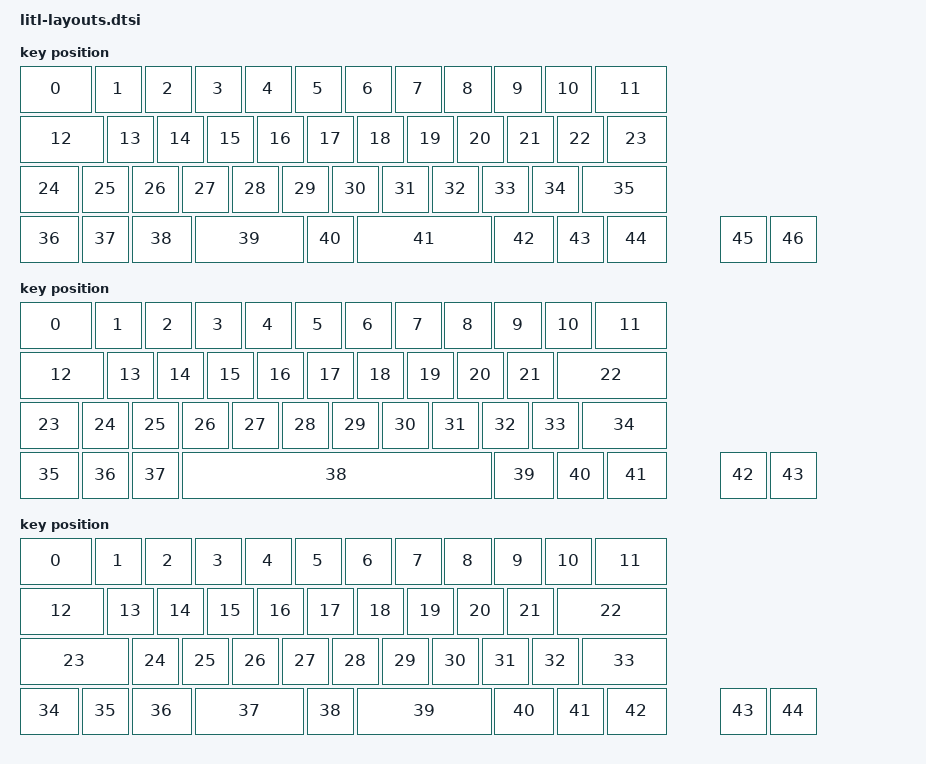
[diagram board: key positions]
#include <physical_layouts.dtsi>

/ {
    layout_all: layout_all {
        compatible = "zmk,physical-layout";
        display-name = "all";
        transform = <&default_transform>;

        keys  //                     w   h    x    y     rot    rx    ry
            = <&key_physical_attrs 150 100    0    0       0     0     0>
            , <&key_physical_attrs 100 100  150    0       0     0     0>
            , <&key_physical_attrs 100 100  250    0       0     0     0>
            , <&key_physical_attrs 100 100  350    0       0     0     0>
            , <&key_physical_attrs 100 100  450    0       0     0     0>
            , <&key_physical_attrs 100 100  550    0       0     0     0>
            , <&key_physical_attrs 100 100  650    0       0     0     0>
            , <&key_physical_attrs 100 100  750    0       0     0     0>
            , <&key_physical_attrs 100 100  850    0       0     0     0>
            , <&key_physical_attrs 100 100  950    0       0     0     0>
            , <&key_physical_attrs 100 100 1050    0       0     0     0>
            , <&key_physical_attrs 150 100 1150    0       0     0     0>
            , <&key_physical_attrs 175 100    0  100       0     0     0>
            , <&key_physical_attrs 100 100  175  100       0     0     0>
            , <&key_physical_attrs 100 100  275  100       0     0     0>
            , <&key_physical_attrs 100 100  375  100       0     0     0>
            , <&key_physical_attrs 100 100  475  100       0     0     0>
            , <&key_physical_attrs 100 100  575  100       0     0     0>
            , <&key_physical_attrs 100 100  675  100       0     0     0>
            , <&key_physical_attrs 100 100  775  100       0     0     0>
            , <&key_physical_attrs 100 100  875  100       0     0     0>
            , <&key_physical_attrs 100 100  975  100       0     0     0>
            , <&key_physical_attrs 100 100 1075  100       0     0     0>
            , <&key_physical_attrs 125 100 1175  100       0     0     0>
            , <&key_physical_attrs 125 100    0  200       0     0     0>
            , <&key_physical_attrs 100 100  125  200       0     0     0>
            , <&key_physical_attrs 100 100  225  200       0     0     0>
            , <&key_physical_attrs 100 100  325  200       0     0     0>
            , <&key_physical_attrs 100 100  425  200       0     0     0>
            , <&key_physical_attrs 100 100  525  200       0     0     0>
            , <&key_physical_attrs 100 100  625  200       0     0     0>
            , <&key_physical_attrs 100 100  725  200       0     0     0>
            , <&key_physical_attrs 100 100  825  200       0     0     0>
            , <&key_physical_attrs 100 100  925  200       0     0     0>
            , <&key_physical_attrs 100 100 1025  200       0     0     0>
            , <&key_physical_attrs 175 100 1125  200       0     0     0>
            , <&key_physical_attrs 125 100    0  300       0     0     0>
            , <&key_physical_attrs 100 100  125  300       0     0     0>
            , <&key_physical_attrs 125 100  225  300       0     0     0>
            , <&key_physical_attrs 225 100  350  300       0     0     0>
            , <&key_physical_attrs 100 100  575  300       0     0     0>
            , <&key_physical_attrs 275 100  675  300       0     0     0>
            , <&key_physical_attrs 125 100  950  300       0     0     0>
            , <&key_physical_attrs 100 100 1075  300       0     0     0>
            , <&key_physical_attrs 125 100 1175  300       0     0     0>
            , <&key_physical_attrs 100 100 1400  300       0     0     0>
            , <&key_physical_attrs 100 100 1500  300       0     0     0>
            ;
    };

    layout_ansi_split_lshift: layout_ansi_split_lshift {
        compatible = "zmk,physical-layout";
        display-name = "ansi split lshift";
        transform = <&default_transform>;

        keys  //                     w   h    x    y     rot    rx    ry
            = <&key_physical_attrs 150 100    0    0       0     0     0>
            , <&key_physical_attrs 100 100  150    0       0     0     0>
            , <&key_physical_attrs 100 100  250    0       0     0     0>
            , <&key_physical_attrs 100 100  350    0       0     0     0>
            , <&key_physical_attrs 100 100  450    0       0     0     0>
            , <&key_physical_attrs 100 100  550    0       0     0     0>
            , <&key_physical_attrs 100 100  650    0       0     0     0>
            , <&key_physical_attrs 100 100  750    0       0     0     0>
            , <&key_physical_attrs 100 100  850    0       0     0     0>
            , <&key_physical_attrs 100 100  950    0       0     0     0>
            , <&key_physical_attrs 100 100 1050    0       0     0     0>
            , <&key_physical_attrs 150 100 1150    0       0     0     0>
            , <&key_physical_attrs 175 100    0  100       0     0     0>
            , <&key_physical_attrs 100 100  175  100       0     0     0>
            , <&key_physical_attrs 100 100  275  100       0     0     0>
            , <&key_physical_attrs 100 100  375  100       0     0     0>
            , <&key_physical_attrs 100 100  475  100       0     0     0>
            , <&key_physical_attrs 100 100  575  100       0     0     0>
            , <&key_physical_attrs 100 100  675  100       0     0     0>
            , <&key_physical_attrs 100 100  775  100       0     0     0>
            , <&key_physical_attrs 100 100  875  100       0     0     0>
            , <&key_physical_attrs 100 100  975  100       0     0     0>
            , <&key_physical_attrs 225 100 1075  100       0     0     0>
            , <&key_physical_attrs 125 100    0  200       0     0     0>
            , <&key_physical_attrs 100 100  125  200       0     0     0>
            , <&key_physical_attrs 100 100  225  200       0     0     0>
            , <&key_physical_attrs 100 100  325  200       0     0     0>
            , <&key_physical_attrs 100 100  425  200       0     0     0>
            , <&key_physical_attrs 100 100  525  200       0     0     0>
            , <&key_physical_attrs 100 100  625  200       0     0     0>
            , <&key_physical_attrs 100 100  725  200       0     0     0>
            , <&key_physical_attrs 100 100  825  200       0     0     0>
            , <&key_physical_attrs 100 100  925  200       0     0     0>
            , <&key_physical_attrs 100 100 1025  200       0     0     0>
            , <&key_physical_attrs 175 100 1125  200       0     0     0>
            , <&key_physical_attrs 125 100    0  300       0     0     0>
            , <&key_physical_attrs 100 100  125  300       0     0     0>
            , <&key_physical_attrs 100 100  225  300       0     0     0>
            , <&key_physical_attrs 625 100  325  300       0     0     0>
            , <&key_physical_attrs 125 100  950  300       0     0     0>
            , <&key_physical_attrs 100 100 1075  300       0     0     0>
            , <&key_physical_attrs 125 100 1175  300       0     0     0>
            , <&key_physical_attrs 100 100 1400  300       0     0     0>
            , <&key_physical_attrs 100 100 1500  300       0     0     0>
            ;
    };

    layout_ansi_split_space: layout_ansi_split_space {
        compatible = "zmk,physical-layout";
        display-name = "ansi split space";
        transform = <&default_transform>;

        keys  //                     w   h    x    y     rot    rx    ry
            = <&key_physical_attrs 150 100    0    0       0     0     0>
            , <&key_physical_attrs 100 100  150    0       0     0     0>
            , <&key_physical_attrs 100 100  250    0       0     0     0>
            , <&key_physical_attrs 100 100  350    0       0     0     0>
            , <&key_physical_attrs 100 100  450    0       0     0     0>
            , <&key_physical_attrs 100 100  550    0       0     0     0>
            , <&key_physical_attrs 100 100  650    0       0     0     0>
            , <&key_physical_attrs 100 100  750    0       0     0     0>
            , <&key_physical_attrs 100 100  850    0       0     0     0>
            , <&key_physical_attrs 100 100  950    0       0     0     0>
            , <&key_physical_attrs 100 100 1050    0       0     0     0>
            , <&key_physical_attrs 150 100 1150    0       0     0     0>
            , <&key_physical_attrs 175 100    0  100       0     0     0>
            , <&key_physical_attrs 100 100  175  100       0     0     0>
            , <&key_physical_attrs 100 100  275  100       0     0     0>
            , <&key_physical_attrs 100 100  375  100       0     0     0>
            , <&key_physical_attrs 100 100  475  100       0     0     0>
            , <&key_physical_attrs 100 100  575  100       0     0     0>
            , <&key_physical_attrs 100 100  675  100       0     0     0>
            , <&key_physical_attrs 100 100  775  100       0     0     0>
            , <&key_physical_attrs 100 100  875  100       0     0     0>
            , <&key_physical_attrs 100 100  975  100       0     0     0>
            , <&key_physical_attrs 225 100 1075  100       0     0     0>
            , <&key_physical_attrs 225 100    0  200       0     0     0>
            , <&key_physical_attrs 100 100  225  200       0     0     0>
            , <&key_physical_attrs 100 100  325  200       0     0     0>
            , <&key_physical_attrs 100 100  425  200       0     0     0>
            , <&key_physical_attrs 100 100  525  200       0     0     0>
            , <&key_physical_attrs 100 100  625  200       0     0     0>
            , <&key_physical_attrs 100 100  725  200       0     0     0>
            , <&key_physical_attrs 100 100  825  200       0     0     0>
            , <&key_physical_attrs 100 100  925  200       0     0     0>
            , <&key_physical_attrs 100 100 1025  200       0     0     0>
            , <&key_physical_attrs 175 100 1125  200       0     0     0>
            , <&key_physical_attrs 125 100    0  300       0     0     0>
            , <&key_physical_attrs 100 100  125  300       0     0     0>
            , <&key_physical_attrs 125 100  225  300       0     0     0>
            , <&key_physical_attrs 225 100  350  300       0     0     0>
            , <&key_physical_attrs 100 100  575  300       0     0     0>
            , <&key_physical_attrs 275 100  675  300       0     0     0>
            , <&key_physical_attrs 125 100  950  300       0     0     0>
            , <&key_physical_attrs 100 100 1075  300       0     0     0>
            , <&key_physical_attrs 125 100 1175  300       0     0     0>
            , <&key_physical_attrs 100 100 1400  300       0     0     0>
            , <&key_physical_attrs 100 100 1500  300       0     0     0>
            ;
    };

    layout_ansi_40: layout_ansi_40 {
        compatible = "zmk,physical-layout";
        display-name = "ansi 40";
        transform = <&default_transform>;

        keys  //                     w   h    x    y     rot    rx    ry
            = <&key_physical_attrs 150 100    0    0       0     0     0>
            , <&key_physical_attrs 100 100  150    0       0     0     0>
            , <&key_physical_attrs 100 100  250    0       0     0     0>
            , <&key_physical_attrs 100 100  350    0       0     0     0>
            , <&key_physical_attrs 100 100  450    0       0     0     0>
            , <&key_physical_attrs 100 100  550    0       0     0     0>
            , <&key_physical_attrs 100 100  650    0       0     0     0>
            , <&key_physical_attrs 100 100  750    0       0     0     0>
            , <&key_physical_attrs 100 100  850    0       0     0     0>
            , <&key_physical_attrs 100 100  950    0       0     0     0>
            , <&key_physical_attrs 100 100 1050    0       0     0     0>
            , <&key_physical_attrs 150 100 1150    0       0     0     0>
            , <&key_physical_attrs 175 100    0  100       0     0     0>
            , <&key_physical_attrs 100 100  175  100       0     0     0>
            , <&key_physical_attrs 100 100  275  100       0     0     0>
            , <&key_physical_attrs 100 100  375  100       0     0     0>
            , <&key_physical_attrs 100 100  475  100       0     0     0>
            , <&key_physical_attrs 100 100  575  100       0     0     0>
            , <&key_physical_attrs 100 100  675  100       0     0     0>
            , <&key_physical_attrs 100 100  775  100       0     0     0>
            , <&key_physical_attrs 100 100  875  100       0     0     0>
            , <&key_physical_attrs 100 100  975  100       0     0     0>
            , <&key_physical_attrs 225 100 1075  100       0     0     0>
            , <&key_physical_attrs 225 100    0  200       0     0     0>
            , <&key_physical_attrs 100 100  225  200       0     0     0>
            , <&key_physical_attrs 100 100  325  200       0     0     0>
            , <&key_physical_attrs 100 100  425  200       0     0     0>
            , <&key_physical_attrs 100 100  525  200       0     0     0>
            , <&key_physical_attrs 100 100  625  200       0     0     0>
            , <&key_physical_attrs 100 100  725  200       0     0     0>
            , <&key_physical_attrs 100 100  825  200       0     0     0>
            , <&key_physical_attrs 100 100  925  200       0     0     0>
            , <&key_physical_attrs 100 100 1025  200       0     0     0>
            , <&key_physical_attrs 175 100 1125  200       0     0     0>
            , <&key_physical_attrs 125 100    0  300       0     0     0>
            , <&key_physical_attrs 100 100  125  300       0     0     0>
            , <&key_physical_attrs 100 100  225  300       0     0     0>
            , <&key_physical_attrs 625 100  325  300       0     0     0>
            , <&key_physical_attrs 125 100  950  300       0     0     0>
            , <&key_physical_attrs 100 100 1075  300       0     0     0>
            , <&key_physical_attrs 125 100 1175  300       0     0     0>
            , <&key_physical_attrs 100 100 1400  300       0     0     0>
            , <&key_physical_attrs 100 100 1500  300       0     0     0>
            ;
    };

    layout_ansi_split_enter: layout_ansi_split_enter {
        compatible = "zmk,physical-layout";
        display-name = "ansi split enter";
        transform = <&default_transform>;

        keys  //                     w   h    x    y     rot    rx    ry
            = <&key_physical_attrs 150 100    0    0       0     0     0>
            , <&key_physical_attrs 100 100  150    0       0     0     0>
            , <&key_physical_attrs 100 100  250    0       0     0     0>
            , <&key_physical_attrs 100 100  350    0       0     0     0>
            , <&key_physical_attrs 100 100  450    0       0     0     0>
            , <&key_physical_attrs 100 100  550    0       0     0     0>
            , <&key_physical_attrs 100 100  650    0       0     0     0>
            , <&key_physical_attrs 100 100  750    0       0     0     0>
            , <&key_physical_attrs 100 100  850    0       0     0     0>
            , <&key_physical_attrs 100 100  950    0       0     0     0>
            , <&key_physical_attrs 100 100 1050    0       0     0     0>
            , <&key_physical_attrs 150 100 1150    0       0     0     0>
            , <&key_physical_attrs 175 100    0  100       0     0     0>
            , <&key_physical_attrs 100 100  175  100       0     0     0>
            , <&key_physical_attrs 100 100  275  100       0     0     0>
            , <&key_physical_attrs 100 100  375  100       0     0     0>
            , <&key_physical_attrs 100 100  475  100       0     0     0>
            , <&key_physical_attrs 100 100  575  100       0     0     0>
            , <&key_physical_attrs 100 100  675  100       0     0     0>
            , <&key_physical_attrs 100 100  775  100       0     0     0>
            , <&key_physical_attrs 100 100  875  100       0     0     0>
            , <&key_physical_attrs 100 100  975  100       0     0     0>
            , <&key_physical_attrs 100 100 1075  100       0     0     0>
            , <&key_physical_attrs 125 100 1175  100       0     0     0>
            , <&key_physical_attrs 225 100    0  200       0     0     0>
            , <&key_physical_attrs 100 100  225  200       0     0     0>
            , <&key_physical_attrs 100 100  325  200       0     0     0>
            , <&key_physical_attrs 100 100  425  200       0     0     0>
            , <&key_physical_attrs 100 100  525  200       0     0     0>
            , <&key_physical_attrs 100 100  625  200       0     0     0>
            , <&key_physical_attrs 100 100  725  200       0     0     0>
            , <&key_physical_attrs 100 100  825  200       0     0     0>
            , <&key_physical_attrs 100 100  925  200       0     0     0>
            , <&key_physical_attrs 100 100 1025  200       0     0     0>
            , <&key_physical_attrs 175 100 1125  200       0     0     0>
            , <&key_physical_attrs 125 100    0  300       0     0     0>
            , <&key_physical_attrs 100 100  125  300       0     0     0>
            , <&key_physical_attrs 100 100  225  300       0     0     0>
            , <&key_physical_attrs 625 100  325  300       0     0     0>
            , <&key_physical_attrs 125 100  950  300       0     0     0>
            , <&key_physical_attrs 100 100 1075  300       0     0     0>
            , <&key_physical_attrs 125 100 1175  300       0     0     0>
            , <&key_physical_attrs 100 100 1400  300       0     0     0>
            , <&key_physical_attrs 100 100 1500  300       0     0     0>
            ;
    };

    position_map {
        compatible = "zmk,physical-layout-position-map";

        layout_all {
            physical-layout = <&layout_all>;
            positions = <23 40 24>;
        };

        layout_ansi_split_lshift {
            physical-layout = <&layout_ansi_split_lshift>;
            positions = <22 38 23>;
        };

        layout_ansi_split_space {
            physical-layout = <&layout_ansi_split_space>;
            positions = <22 38 23>;
        };

        layout_ansi_40 {
            physical-layout = <&layout_ansi_40>;
            positions = <22 37 23>;
        };

        layout_ansi_split_enter {
            physical-layout = <&layout_ansi_split_enter>;
            positions = <23 38 24>;
        };
    };
};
